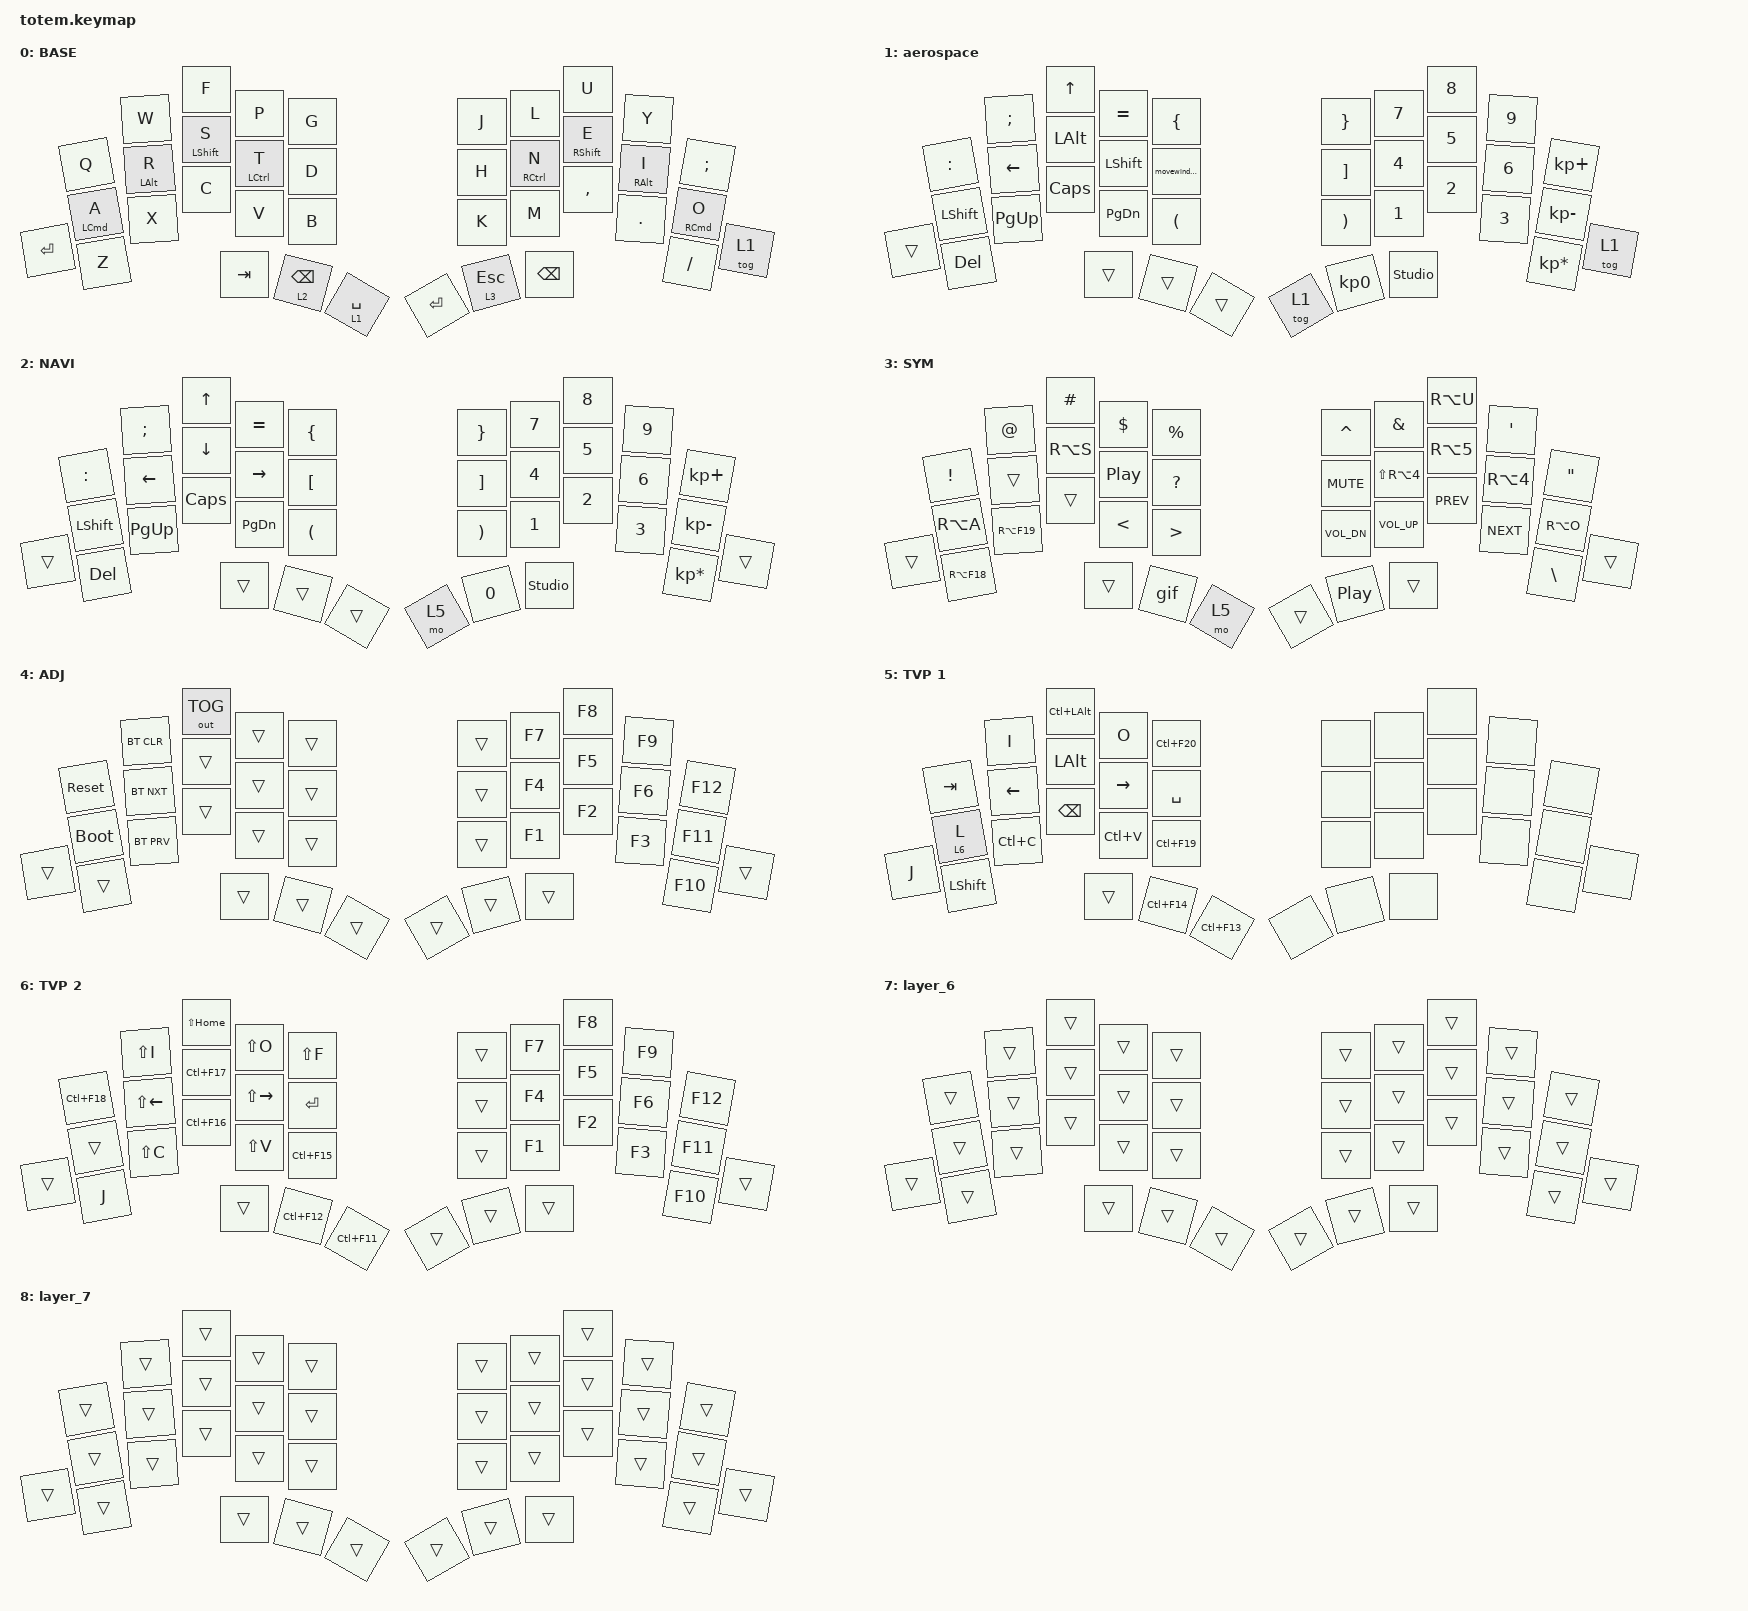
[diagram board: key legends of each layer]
//
//                                                        ▀▀▀▀▀     ▀▀▀▀▀          ▀▀█▀▀
//                                                        ▄▀▀▀▄  ▄  ▄▀▀▀▄  ▄  ▄▀▀▀▄  █  ▄▀▀▀▄
//                                                        █   █  █  █   █  █  █   █  █  █   █
//                                                         ▀▀▀   █   ▀▀▀   █   ▀▀▀   ▀   ▀▀▀
//                                                               █      ▄▄▄█▄▄▄    █   █  
//                                                               ▀      █  █  █     █▄█
//                                                             ▀▀▀▀▀    █  █  █      ▀
//                                                                      ▀  ▀  ▀
//
// ▄▄▄▄▄▄▄▄▄▄▄▄▄▄▄▄▄▄▄▄▄▄▄▄▄▄▄▄▄▄▄▄▄▄▄▄▄▄▄▄▄▄▄▄▄▄▄▄▄▄▄▄▄▄▄▄▄▄▄▄▄▄▄▄▄▄▄▄▄▄▄▄▄▄▄▄▄▄▄▄▄▄▄▄▄▄▄▄▄▄▄▄▄▄▄▄▄▄▄▄▄▄▄▄▄▄▄▄▄▄▄▄▄▄▄▄▄▄▄▄▄▄▄▄▄▄▄▄▄▄▄▄▄▄▄▄▄▄▄▄▄▄▄▄▄▄▄▄▄

#include <behaviors.dtsi>
#include <dt-bindings/zmk/bt.h>
#include <dt-bindings/zmk/keys.h>
#include <dt-bindings/zmk/outputs.h>

#define BASE 0
#define NAV  1
#define SYM  2
#define ADJ  3
#define TVP1 4
#define TVP2 5

&mt {
    quick-tap-ms = <100>;
    global-quick-tap;
    flavor = "tap-preferred";
    tapping-term-ms = <170>;
};

/ {
    combos {
        compatible = "zmk,combos";

        combo_esc {
            timeout-ms = <50>;
            key-positions = <0 1>;
            bindings = <&kp ESC>;
        };

        combo_tvp {
            timeout-ms = <100>;
            key-positions = <11 12 13>;
            bindings = <&tog 5>;
        };

        homerowSearch {
            bindings = <&homerowSearch>;
            key-positions = <12 13>;
        };

        homerowScroll {
            bindings = <&homerowScroll>;
            key-positions = <16 17>;
        };
    };

    macros {
        gif: gif {
            label = "giphy";
            compatible = "zmk,behavior-macro";
            #binding-cells = <0>;
            bindings =
                <&macro_press>,
                <&kp LSHFT>,
                <&macro_tap>,
                <&kp N2>,
                <&macro_release>,
                <&kp LSHFT>,
                <&macro_tap>,
                <&kp G &kp I &kp F>;
        };

        homerowSearch: homerowSearch {
            compatible = "zmk,behavior-macro";
            #binding-cells = <0>;
            bindings =
                <&macro_press>,
                <&kp LEFT_SHIFT>,
                <&macro_tap>,
                <&kp LEFT_COMMAND>,
                <&macro_release>,
                <&kp LEFT_SHIFT>;

            label = "HOMEROWSEARCH";
        };

        homerowScroll: homerowScroll {
            compatible = "zmk,behavior-macro";
            #binding-cells = <0>;
            bindings =
                <&macro_press>,
                <&kp LEFT_SHIFT &kp LEFT_COMMAND>,
                <&macro_tap>,
                <&kp J>,
                <&macro_release>,
                <&kp LEFT_SHIFT &kp LEFT_COMMAND>;

            label = "HOMEROWSCROLL";
        };

        aerospacewindow: aerospacewindow {
            compatible = "zmk,behavior-macro";
            #binding-cells = <0>;
            bindings =
                <&macro_press>,
                <&kp LA(LEFT_SHIFT)>,
                <&macro_pause_for_release>,
                <&macro_release>,
                <&kp LA(LEFT_SHIFT)>;

            label = "AEROSPACEWINDOW";
        };
    };

    behaviors {
        aerospace: aerospace {
            compatible = "zmk,behavior-toggle-layer";
            label = "AEROSPACE";
            #binding-cells = <1>;
            toggle-mode = "flip";
        };

        movewindow: movewindow {
            compatible = "zmk,behavior-tap-dance";
            label = "MOVEWINDOW";
            #binding-cells = <0>;
            bindings = <&kp LALT>, <&aerospacewindow>;
        };

        aero_on: aero_on {
            compatible = "zmk,behavior-toggle-layer";
            label = "AERO_ON";
            #binding-cells = <1>;
        };

        aero_off: aero_off {
            compatible = "zmk,behavior-toggle-layer";
            label = "AERO_OFF";
            #binding-cells = <1>;
            toggle-mode = "off";
        };

        aerospacehold: aerospacehold {
            compatible = "zmk,behavior-hold-tap";
            label = "AEROSPACEHOLD";
            bindings = <&tog>, <&kp>;

            #binding-cells = <2>;
            tapping-term-ms = <200>;
        };
    };

    keymap {
        compatible = "zmk,keymap";

        // ▄▄▄▄▄▄▄▄▄▄▄▄▄▄▄▄▄▄▄▄▄▄▄▄▄▄▄▄▄▄▄▄▄▄▄▄▄▄▄▄▄▄▄▄▄▄▄▄▄▄▄▄▄▄▄▄▄▄▄▄▄▄▄▄▄▄▄▄▄▄▄▄▄▄▄▄▄▄▄▄▄▄▄▄▄▄▄▄▄▄▄▄▄▄▄▄▄▄▄▄▄▄▄▄▄▄▄▄▄▄▄▄▄▄▄▄▄▄▄▄▄▄▄▄▄▄▄▄▄▄▄▄▄▄▄▄▄▄▄▄▄▄▄▄▄▄▄▄▄

        base_layer {
            // ┏━━━━━━━━━━━━━━━━━━━━━━━━━━━━━━━━━━━━━━━┓

            label = "BASE";

            // ┗━━━━━━━━━━━━━━━━━━━━━━━━━━━━━━━━━━━━━━━┛
            //             ┏━━━━━━━━━━━┳━━━━━━━━━━━┳━━━━━━━━━━━┳━━━━━━━━━━━┳━━━━━━━━━━━┓   ┏━━━━━━━━━━━┳━━━━━━━━━━━┳━━━━━━━━━━━┳━━━━━━━━━━━┳━━━━━━━━━━━┓
            //             ┃     Q     ┃     W     ┃     F     ┃     P     ┃     G     ┃   ┃     J     ┃     L     ┃     U     ┃     Y     ┃     ;     ┃
            //             ┣━━━━━━━━━━━╋━━━━━━━━━━━╋━━━━━━━━━━━╋━━━━━━━━━━━╋━━━━━━━━━━━┫   ┣━━━━━━━━━━━╋━━━━━━━━━━━╋━━━━━━━━━━━╋━━━━━━━━━━━╋━━━━━━━━━━━┫
            //             ┃     A     ┃     R     ┃     S     ┃     T     ┃     D     ┃   ┃     H     ┃     N     ┃     E     ┃     I     ┃     O     ┃
            // ┏━━━━━━━━━━━╋━━━━━━━━━━━╋━━━━━━━━━━━╋━━━━━━━━━━━╋━━━━━━━━━━━╋━━━━━━━━━━━┫   ┣━━━━━━━━━━━╋━━━━━━━━━━━╋━━━━━━━━━━━╋━━━━━━━━━━━╋━━━━━━━━━━━╋━━━━━━━━━━━┓
            // ┃     Q     ┃     Z     ┃     X     ┃     C     ┃     V     ┃     B     ┃   ┃     K     ┃     M     ┃     ,     ┃     .     ┃     /     ┃     \     ┃
            // ┗━━━━━━━━━━━┻━━━━━━━━━━━┻━━━━━━━━━━━╋━━━━━━━━━━━╋━━━━━━━━━━━╋━━━━━━━━━━━┫   ┣━━━━━━━━━━━╋━━━━━━━━━━━╋━━━━━━━━━━━╋━━━━━━━━━━━┻━━━━━━━━━━━┻━━━━━━━━━━━┛
            //                                     ┃    DEL    ┃    TAB    ┃    SPC    ┃   ┃   ENTER   ┃           ┃   BSPC    ┃
            //                                     ┗━━━━━━━━━━━┻━━━━━━━━━━━┻━━━━━━━━━━━┛   ┗━━━━━━━━━━━┻━━━━━━━━━━━┻━━━━━━━━━━━┛

            bindings = <
         &kp Q               &kp W       &kp F             &kp P            &kp G                     &kp J      &kp L        &kp U              &kp Y       &kp SEMI
         &mt LEFT_COMMAND A  &mt LALT R  &mt LEFT_SHIFT S  &mt LCTRL T      &kp D                     &kp H      &mt RCTRL N  &mt RIGHT_SHIFT E  &mt RALT I  &mt RIGHT_COMMAND O
&kp RET  &kp Z               &kp X       &kp C             &kp V            &kp B                     &kp K      &kp M        &kp COMMA          &kp DOT     &kp FSLH             &tog 1
                                         &kp TAB           &lt 2 BACKSPACE  &aerospacehold 1 SPACE    &kp ENTER  &lt 3 ESC    &kp BSPC
            >;
        };

        aerospace {
            label = "aerospace";
            bindings = <
        &kp COLON  &kp SEMI   &kp UP        &kp EQUAL   &kp LBRC       &kp RBRC  &kp N7        &kp N8          &kp N9        &kp KP_PLUS
        &kp LSHFT  &kp LEFT   &kp LEFT_ALT  &kp LSHIFT  &movewindow    &kp RBKT  &kp NUMBER_4  &kp N5          &kp NUMBER_6  &kp KP_MINUS
&trans  &kp DEL    &kp PG_UP  &kp CAPS      &kp PG_DN   &kp LPAR       &kp RPAR  &kp NUMBER_1  &kp NUMBER_2    &kp NUMBER_3  &kp KP_MULTIPLY  &tog 1
                              &trans        &trans      &trans         &tog 1    &kp KP_N0     &studio_unlock
            >;
        };

        nav_layer {
            // ┏━━━━━━━━━━━━━━━━━━━━━━━━━━━━━━━━━━━━━━━┓

            label = "NAVI";

            // ┗━━━━━━━━━━━━━━━━━━━━━━━━━━━━━━━━━━━━━━━┛
            //             ┏━━━━━━━━━━━┳━━━━━━━━━━━┳━━━━━━━━━━━┳━━━━━━━━━━━┳━━━━━━━━━━━┓   ┏━━━━━━━━━━━┳━━━━━━━━━━━┳━━━━━━━━━━━┳━━━━━━━━━━━┳━━━━━━━━━━━┓
            //             ┃           ┃           ┃     UP    ┃           ┃     {     ┃   ┃     }     ┃     7     ┃     8     ┃     9     ┃     +     ┃
            //             ┣━━━━━━━━━━━╋━━━━━━━━━━━╋━━━━━━━━━━━╋━━━━━━━━━━━╋━━━━━━━━━━━┫   ┣━━━━━━━━━━━╋━━━━━━━━━━━╋━━━━━━━━━━━╋━━━━━━━━━━━╋━━━━━━━━━━━┫
            //             ┃   SHIFT   ┃   LEFT    ┃    DOWN   ┃   RIGHT   ┃     [     ┃   ┃     ]     ┃     4     ┃     5     ┃     6     ┃     -     ┃
            // ┏━━━━━━━━━━━╋━━━━━━━━━━━╋━━━━━━━━━━━╋━━━━━━━━━━━╋━━━━━━━━━━━╋━━━━━━━━━━━┫   ┣━━━━━━━━━━━╋━━━━━━━━━━━╋━━━━━━━━━━━╋━━━━━━━━━━━╋━━━━━━━━━━━╋━━━━━━━━━━━┓
            // ┃           ┃           ┃   P UP    ┃  C LOCK   ┃  P DOWN   ┃     (     ┃   ┃     )     ┃     1     ┃     2     ┃     3     ┃     *     ┃           ┃
            // ┗━━━━━━━━━━━┻━━━━━━━━━━━┻━━━━━━━━━━━╋━━━━━━━━━━━╋━━━━━━━━━━━╋━━━━━━━━━━━┫   ┣━━━━━━━━━━━╋━━━━━━━━━━━╋━━━━━━━━━━━╋━━━━━━━━━━━┻━━━━━━━━━━━┻━━━━━━━━━━━┛
            //                                     ┃           ┃    TAB    ┃    SPC    ┃   ┃    DEL    ┃     0     ┃           ┃
            //                                     ┗━━━━━━━━━━━┻━━━━━━━━━━━┻━━━━━━━━━━━┛   ┗━━━━━━━━━━━┻━━━━━━━━━━━┻━━━━━━━━━━━┛

            bindings = <
        &kp COLON  &kp SEMI   &kp UP    &kp EQUAL  &kp LBRC    &kp RBRC  &kp N7        &kp N8          &kp N9        &kp KP_PLUS
        &kp LSHFT  &kp LEFT   &kp DOWN  &kp RIGHT  &kp LBKT    &kp RBKT  &kp NUMBER_4  &kp N5          &kp NUMBER_6  &kp KP_MINUS
&trans  &kp DEL    &kp PG_UP  &kp CAPS  &kp PG_DN  &kp LPAR    &kp RPAR  &kp NUMBER_1  &kp NUMBER_2    &kp NUMBER_3  &kp KP_MULTIPLY  &trans
                              &trans    &trans     &trans      &mo 5     &kp N0        &studio_unlock
            >;
        };

        sim_layer {
            // ┏━━━━━━━━━━━━━━━━━━━━━━━━━━━━━━━━━━━━━━━┓

            label = "SYM";

            // ┗━━━━━━━━━━━━━━━━━━━━━━━━━━━━━━━━━━━━━━━┛
            //             ┏━━━━━━━━━━━┳━━━━━━━━━━━┳━━━━━━━━━━━┳━━━━━━━━━━━┳━━━━━━━━━━━┓   ┏━━━━━━━━━━━┳━━━━━━━━━━━┳━━━━━━━━━━━┳━━━━━━━━━━━┳━━━━━━━━━━━┓
            //             ┃     !     ┃     @     ┃     #     ┃     $     ┃     %     ┃   ┃     ˆ     ┃     &     ┃     Ü     ┃     '     ┃     "     ┃
            //             ┣━━━━━━━━━━━╋━━━━━━━━━━━╋━━━━━━━━━━━╋━━━━━━━━━━━╋━━━━━━━━━━━┫   ┣━━━━━━━━━━━╋━━━━━━━━━━━╋━━━━━━━━━━━╋━━━━━━━━━━━╋━━━━━━━━━━━┫
            //             ┃     Ä     ┃           ┃    SZ     ┃           ┃           ┃   ┃   MUTE    ┃   YEN     ┃   EURO    ┃  POUND    ┃     Ö     ┃
            // ┏━━━━━━━━━━━╋━━━━━━━━━━━╋━━━━━━━━━━━╋━━━━━━━━━━━╋━━━━━━━━━━━╋━━━━━━━━━━━┫   ┣━━━━━━━━━━━╋━━━━━━━━━━━╋━━━━━━━━━━━╋━━━━━━━━━━━╋━━━━━━━━━━━╋━━━━━━━━━━━┓
            // ┃           ┃  EMAIL1   ┃  EMAIL2   ┃           ┃           ┃           ┃   ┃   VOL-    ┃   VOL+    ┃   LAST    ┃   NEXT    ┃     \     ┃           ┃
            // ┗━━━━━━━━━━━┻━━━━━━━━━━━┻━━━━━━━━━━━╋━━━━━━━━━━━╋━━━━━━━━━━━╋━━━━━━━━━━━┫   ┣━━━━━━━━━━━╋━━━━━━━━━━━╋━━━━━━━━━━━╋━━━━━━━━━━━┻━━━━━━━━━━━┻━━━━━━━━━━━┛
            //                                     ┃           ┃    GIF    ┃    ADJ    ┃   ┃           ┃           ┃           ┃
            //                                     ┗━━━━━━━━━━━┻━━━━━━━━━━━┻━━━━━━━━━━━┛   ┗━━━━━━━━━━━┻━━━━━━━━━━━┻━━━━━━━━━━━┛

            bindings = <
        &kp EXCL     &kp AT       &kp HASH   &kp DLLR       &kp PRCNT           &kp CARET     &kp AMPS        &kp RA(U)   &kp SQT     &kp DQT
        &kp RA(A)    &trans       &kp RA(S)  &kp C_PP       &kp QUESTION        &kp C_MUTE    &kp LS(RA(N4))  &kp RA(N5)  &kp RA(N4)  &kp RA(O)
&trans  &kp RA(F18)  &kp RA(F19)  &trans     &kp LESS_THAN  &kp GREATER_THAN    &kp C_VOL_DN  &kp C_VOL_UP    &kp C_PREV  &kp C_NEXT  &kp BSLH   &trans
                                  &trans     &gif           &mo 5               &trans        &kp C_PP        &trans
            >;
        };

        adjust_layer {
            // ┏━━━━━━━━━━━━━━━━━━━━━━━━━━━━━━━━━━━━━━━┓

            label = "ADJ";

            // ┗━━━━━━━━━━━━━━━━━━━━━━━━━━━━━━━━━━━━━━━┛
            //             ┏━━━━━━━━━━━┳━━━━━━━━━━━┳━━━━━━━━━━━┳━━━━━━━━━━━┳━━━━━━━━━━━┓   ┏━━━━━━━━━━━┳━━━━━━━━━━━┳━━━━━━━━━━━┳━━━━━━━━━━━┳━━━━━━━━━━━┓
            //             ┃   RESET   ┃ BT CLEAR  ┃  OUT TOG  ┃           ┃           ┃   ┃           ┃    F7     ┃    F8     ┃    F9     ┃    F12    ┃
            //             ┣━━━━━━━━━━━╋━━━━━━━━━━━╋━━━━━━━━━━━╋━━━━━━━━━━━╋━━━━━━━━━━━┫   ┣━━━━━━━━━━━╋━━━━━━━━━━━╋━━━━━━━━━━━╋━━━━━━━━━━━╋━━━━━━━━━━━┫
            //             ┃ BOOTLOAD  ┃ BT NEXT   ┃           ┃           ┃           ┃   ┃           ┃    F4     ┃    F5     ┃    F6     ┃    F11    ┃
            // ┏━━━━━━━━━━━╋━━━━━━━━━━━╋━━━━━━━━━━━╋━━━━━━━━━━━╋━━━━━━━━━━━╋━━━━━━━━━━━┫   ┣━━━━━━━━━━━╋━━━━━━━━━━━╋━━━━━━━━━━━╋━━━━━━━━━━━╋━━━━━━━━━━━╋━━━━━━━━━━━┓
            // ┃           ┃           ┃ BT PREV   ┃           ┃           ┃           ┃   ┃           ┃    F1     ┃    F2     ┃    F3     ┃    F10    ┃           ┃
            // ┗━━━━━━━━━━━┻━━━━━━━━━━━┻━━━━━━━━━━━╋━━━━━━━━━━━╋━━━━━━━━━━━╋━━━━━━━━━━━┫   ┣━━━━━━━━━━━╋━━━━━━━━━━━╋━━━━━━━━━━━╋━━━━━━━━━━━┻━━━━━━━━━━━┻━━━━━━━━━━━┛
            //                                     ┃           ┃           ┃           ┃   ┃           ┃           ┃           ┃
            //                                     ┗━━━━━━━━━━━┻━━━━━━━━━━━┻━━━━━━━━━━━┛   ┗━━━━━━━━━━━┻━━━━━━━━━━━┻━━━━━━━━━━━┛

            bindings = <
        &sys_reset   &bt BT_CLR  &out OUT_TOG  &trans  &trans    &trans  &kp F7  &kp F8  &kp F9  &kp F12
        &bootloader  &bt BT_NXT  &trans        &trans  &trans    &trans  &kp F4  &kp F5  &kp F6  &kp F11
&trans  &trans       &bt BT_PRV  &trans        &trans  &trans    &trans  &kp F1  &kp F2  &kp F3  &kp F10  &trans
                                 &trans        &trans  &trans    &trans  &trans  &trans
            >;
        };

        tvp1_layer {
            // ┏━━━━━━━━━━━━━━━━━━━━━━━━━━━━━━━━━━━━━━━┓

            label = "TVP 1";

            // ┗━━━━━━━━━━━━━━━━━━━━━━━━━━━━━━━━━━━━━━━┛
            //             ┏━━━━━━━━━━━┳━━━━━━━━━━━┳━━━━━━━━━━━┳━━━━━━━━━━━┳━━━━━━━━━━━┓   ┏━━━━━━━━━━━┳━━━━━━━━━━━┳━━━━━━━━━━━┳━━━━━━━━━━━┳━━━━━━━━━━━┓
            //             ┃ NEXT FILE ┃ MARK IN   ┃ ROTATE    ┃ MARK OUT  ┃ SHOW SNAP ┃   ┃           ┃           ┃           ┃           ┃           ┃
            //             ┣━━━━━━━━━━━╋━━━━━━━━━━━╋━━━━━━━━━━━╋━━━━━━━━━━━╋━━━━━━━━━━━┫   ┣━━━━━━━━━━━╋━━━━━━━━━━━╋━━━━━━━━━━━╋━━━━━━━━━━━╋━━━━━━━━━━━┫
            //             ┃ TVP II    ┃ LEFT      ┃ PAN       ┃ RIGHT     ┃ PLAY/FLIP ┃   ┃           ┃           ┃           ┃           ┃           ┃
            // ┏━━━━━━━━━━━╋━━━━━━━━━━━╋━━━━━━━━━━━╋━━━━━━━━━━━╋━━━━━━━━━━━╋━━━━━━━━━━━┫   ┣━━━━━━━━━━━╋━━━━━━━━━━━╋━━━━━━━━━━━╋━━━━━━━━━━━╋━━━━━━━━━━━╋━━━━━━━━━━━┓
            // ┃ FULLSCR   ┃ SHIFT     ┃ COPY      ┃ DELETE    ┃ PASTE     ┃ IMG MARK  ┃   ┃           ┃           ┃           ┃           ┃           ┃           ┃
            // ┗━━━━━━━━━━━┻━━━━━━━━━━━┻━━━━━━━━━━━╋━━━━━━━━━━━╋━━━━━━━━━━━╋━━━━━━━━━━━┫   ┣━━━━━━━━━━━╋━━━━━━━━━━━╋━━━━━━━━━━━╋━━━━━━━━━━━┻━━━━━━━━━━━┻━━━━━━━━━━━┛
            //                                     ┃           ┃ UNDO/SAVE ┃  SEL/MOV  ┃   ┃           ┃           ┃           ┃
            //                                     ┗━━━━━━━━━━━┻━━━━━━━━━━━┻━━━━━━━━━━━┛   ┗━━━━━━━━━━━┻━━━━━━━━━━━┻━━━━━━━━━━━┛

            bindings = <
       &kp TAB    &kp I      &kp LC(LALT)  &kp O        &kp LC(F20)    &none  &none  &none  &none  &none
       &lt 6 L    &kp LEFT   &kp LALT      &kp RIGHT    &kp SPACE      &none  &none  &none  &none  &none
&kp J  &kp LSHFT  &kp LC(C)  &kp BSPC      &kp LC(V)    &kp LC(F19)    &none  &none  &none  &none  &none  &none
                             &trans        &kp LC(F14)  &kp LC(F13)    &none  &none  &none
            >;
        };

        tvp2_layer {
            // ┏━━━━━━━━━━━━━━━━━━━━━━━━━━━━━━━━━━━━━━━┓

            label = "TVP 2";

            // ┗━━━━━━━━━━━━━━━━━━━━━━━━━━━━━━━━━━━━━━━┛
            //             ┏━━━━━━━━━━━┳━━━━━━━━━━━┳━━━━━━━━━━━┳━━━━━━━━━━━┳━━━━━━━━━━━┓   ┏━━━━━━━━━━━┳━━━━━━━━━━━┳━━━━━━━━━━━┳━━━━━━━━━━━┳━━━━━━━━━━━┓
            //             ┃ SOLO      ┃ TOGGLE IN ┃ RESET ROT ┃ TOGGLE OUT┃ TAKE SNAP ┃   ┃           ┃           ┃           ┃           ┃           ┃
            //             ┣━━━━━━━━━━━╋━━━━━━━━━━━╋━━━━━━━━━━━╋━━━━━━━━━━━╋━━━━━━━━━━━┫   ┣━━━━━━━━━━━╋━━━━━━━━━━━╋━━━━━━━━━━━╋━━━━━━━━━━━╋━━━━━━━━━━━┫
            //             ┃ ---       ┃ LAST KEY  ┃ NEW KEY   ┃ NEXT KEY  ┃ ENTER     ┃   ┃           ┃           ┃           ┃           ┃           ┃
            // ┏━━━━━━━━━━━╋━━━━━━━━━━━╋━━━━━━━━━━━╋━━━━━━━━━━━╋━━━━━━━━━━━╋━━━━━━━━━━━┫   ┣━━━━━━━━━━━╋━━━━━━━━━━━╋━━━━━━━━━━━╋━━━━━━━━━━━╋━━━━━━━━━━━╋━━━━━━━━━━━┓
            // ┃           ┃ FULLSCR   ┃ CPY2BRUSH ┃ DEL HEAD  ┃ PSTinPLACE┃ BOOK MARK ┃   ┃           ┃           ┃           ┃           ┃           ┃           ┃
            // ┗━━━━━━━━━━━┻━━━━━━━━━━━┻━━━━━━━━━━━╋━━━━━━━━━━━╋━━━━━━━━━━━╋━━━━━━━━━━━┫   ┣━━━━━━━━━━━╋━━━━━━━━━━━╋━━━━━━━━━━━╋━━━━━━━━━━━┻━━━━━━━━━━━┻━━━━━━━━━━━┛
            //                                     ┃           ┃ REDO/SAV1 ┃TRANS/WARP ┃   ┃           ┃           ┃           ┃
            //                                     ┗━━━━━━━━━━━┻━━━━━━━━━━━┻━━━━━━━━━━━┛   ┗━━━━━━━━━━━┻━━━━━━━━━━━┻━━━━━━━━━━━┛

            bindings = <
        &kp LC(F18)  &kp LS(I)     &kp LS(HOME)  &kp LS(O)      &kp LS(F)      &trans  &kp F7  &kp F8  &kp F9  &kp F12
        &trans       &kp LS(LEFT)  &kp LC(F17)   &kp LS(RIGHT)  &kp RET        &trans  &kp F4  &kp F5  &kp F6  &kp F11
&trans  &kp J        &kp LS(C)     &kp LC(F16)   &kp LS(V)      &kp LC(F15)    &trans  &kp F1  &kp F2  &kp F3  &kp F10  &trans
                                   &trans        &kp LC(F12)    &kp LC(F11)    &trans  &trans  &trans
            >;
        };

        layer_6 {
            bindings = <
        &trans  &trans  &trans  &trans  &trans    &trans  &trans  &trans  &trans  &trans
        &trans  &trans  &trans  &trans  &trans    &trans  &trans  &trans  &trans  &trans
&trans  &trans  &trans  &trans  &trans  &trans    &trans  &trans  &trans  &trans  &trans  &trans
                        &trans  &trans  &trans    &trans  &trans  &trans
            >;
        };

        layer_7 {
            bindings = <
        &trans  &trans  &trans  &trans  &trans    &trans  &trans  &trans  &trans  &trans
        &trans  &trans  &trans  &trans  &trans    &trans  &trans  &trans  &trans  &trans
&trans  &trans  &trans  &trans  &trans  &trans    &trans  &trans  &trans  &trans  &trans  &trans
                        &trans  &trans  &trans    &trans  &trans  &trans
            >;
        };
    };
};
